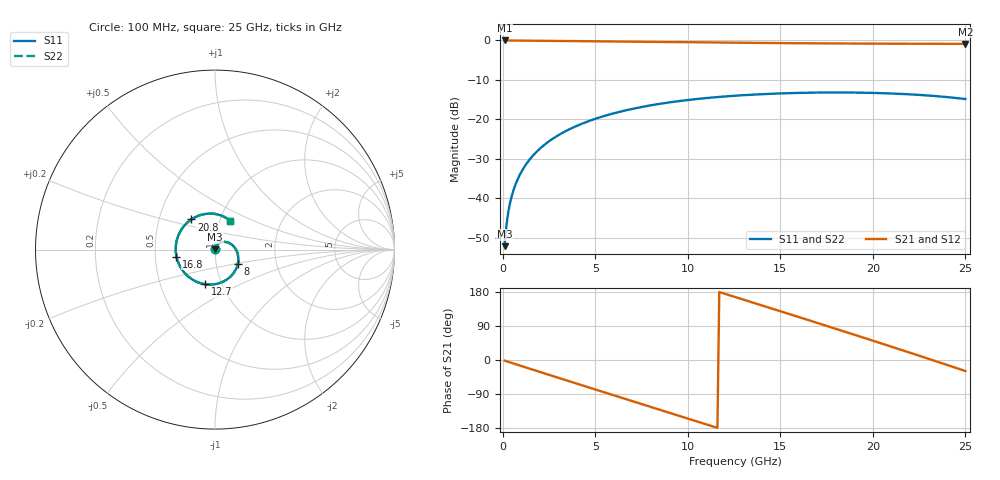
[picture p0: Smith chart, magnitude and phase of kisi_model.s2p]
! kisi P_ts6_finger_far: fast channel model (formula impedances, via model), up to 25 GHz
# Hz S RI R 50
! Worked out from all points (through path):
!   250 points, 100 MHz to 25 GHz, reference 50 ohm
!   highest |S21| = -0.01 dB at 100 MHz (marker M1); lowest = -0.9 dB at 25 GHz (marker M2)
!   group delay of S21, straight-line fit = 43 ps
!   lowest |S11| = -52.1 dB at 100 MHz (marker M3), VSWR 1.00, Z = 50.1 + j0.227 ohm
!   |S11| at or under -10 dB: start of sweep to end of sweep
!   |S22| runs from -52.1 to -13.2 dB; largest |S21 - S12| = 0
!   S11 on the Smith chart (normalised r, x): 100 MHz: 1.00, +0.00; 8 GHz: 1.27, -0.21; 12.7 GHz: 0.84, -0.34; 16.8 GHz: 0.64, -0.05; 20.8 GHz: 0.73, +0.26; 25 GHz: 1.12, +0.37
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1e8  0.00103 0.00226  0.9982 -0.0283  0.9982 -0.0283  0.00103 0.00226
2e8  0.0013 0.00443  0.9965 -0.0561  0.9965 -0.0561  0.0013 0.00443
3e8  0.00167 0.00654  0.994 -0.0837  0.994 -0.0837  0.00167 0.00654
5e8  0.00269 0.0107  0.9869 -0.1382  0.9869 -0.1382  0.00269 0.0107
8e8  0.00496 0.0166  0.9708 -0.2185  0.9708 -0.2185  0.00496 0.0166
1.2e9  0.0094 0.024  0.9395 -0.3225  0.9395 -0.3225  0.0094 0.024
2.4e9  0.0313 0.04  0.7824 -0.6028  0.7824 -0.6028  0.0313 0.04
4.3e9  0.0812 0.0355  0.3821 -0.9005  0.3821 -0.9005  0.0812 0.0355
6.1e9  0.1209 -0.00787  -0.0799 -0.9653  -0.0799 -0.9653  0.1209 -0.00787
8e9  0.1266 -0.0819  -0.5344 -0.7952  -0.5344 -0.7952  0.1266 -0.0819
8.4e9  0.1214 -0.0985  -0.6149 -0.7318  -0.6149 -0.7318  0.1214 -0.0985
1.05e10  0.0573 -0.1721  -0.8994 -0.2886  -0.8994 -0.2886  0.0573 -0.1721
1.26e10  -0.0491 -0.1937  -0.9049 0.2321  -0.9049 0.2321  -0.0491 -0.1937
1.27e10  -0.0545 -0.193  -0.898 0.2561  -0.898 0.2561  -0.0545 -0.193
1.49e10  -0.1631 -0.1368  -0.5978 0.7053  -0.5978 0.7053  -0.1631 -0.1368
1.67e10  -0.2134 -0.0453  -0.1987 0.8966  -0.1987 0.8966  -0.2134 -0.0453
1.68e10  -0.2147 -0.0395  -0.1743 0.9014  -0.1743 0.9014  -0.2147 -0.0395
1.87e10  -0.2069 0.0718  0.2913 0.8652  0.2913 0.8652  -0.2069 0.0718
2.08e10  -0.1321 0.1681  0.7122 0.5645  0.7122 0.5645  -0.1321 0.1681
2.09e10  -0.1272 0.1713  0.7273 0.5445  0.7273 0.5445  -0.1272 0.1713
2.3e10  -0.013 0.2002  0.9044 0.0528  0.9044 0.0528  -0.013 0.2002
2.5e10  0.0848 0.1599  0.7904 -0.44  0.7904 -0.44  0.0848 0.1599
